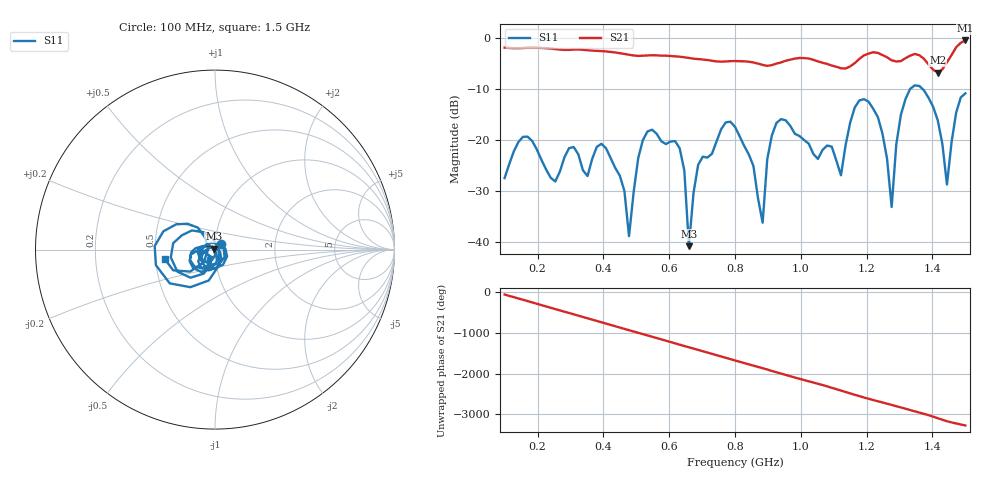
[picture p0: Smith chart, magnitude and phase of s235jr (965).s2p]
! NanoVNA-App
! Date: 2025-09-25 15:11:41
! Start: 100MHz Stop: 1,5GHz Points: 101
! S-Parameter data: F S11 S21 S12 S22
# Hz S RI R 50
!  Frequency  S11_Real  S11_Imag  S21_Real  S21_Imag  S12_Real  S12_Imag  S22_Real  S22_Imag
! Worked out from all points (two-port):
!   101 points, 100 MHz to 1.5 GHz, reference 50 ohm
!   highest |S21| = -0.57 dB at 1.5 GHz (marker M1); lowest = -6.9 dB at 1.416 GHz (marker M2)
!   |S21| within 3 dB of the highest: start of sweep to 502.7 MHz; 512.8 MHz to 595.9 MHz (83.14 MHz wide, 15 % of centre) (the widest 2 of 5)
!   lowest |S11| = -40.8 dB at 660 MHz (marker M3), VSWR 1.02, Z = 49.3 + j0.555 ohm
!   |S11| at or under -10 dB: start of sweep to 1.333 GHz; 1.369 GHz to end of sweep
!   S12 and S22 are empty: the file has one direction only
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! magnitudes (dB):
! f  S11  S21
! 100 MHz  -27.5  -2.0
! 156 MHz  -19.4  -2.0
! 338 MHz  -26.0  -2.4
! 408 MHz  -21.6  -2.7
! 478 MHz  -38.8  -3.4
! 520 MHz  -20.1  -3.5
! 576 MHz  -20.3  -3.5
! 632 MHz  -21.7  -3.7
! 660 MHz  -40.8  -4.0
! 688 MHz  -24.9  -4.2
! 800 MHz  -17.5  -4.6
! 884 MHz  -36.2  -5.4
! 926 MHz  -16.7  -5.1
! 1.038 GHz  -22.8  -4.4
! 1.122 GHz  -26.9  -6.0
! 1.206 GHz  -12.6  -3.1
! 1.276 GHz  -33.1  -4.5
! 1.304 GHz  -15.1  -4.6
! 1.332 GHz  -10.0  -3.6
! 1.416 GHz  -16.2  -6.9
! 1.444 GHz  -28.7  -4.8
! 1.5 GHz  -10.9  -0.6
